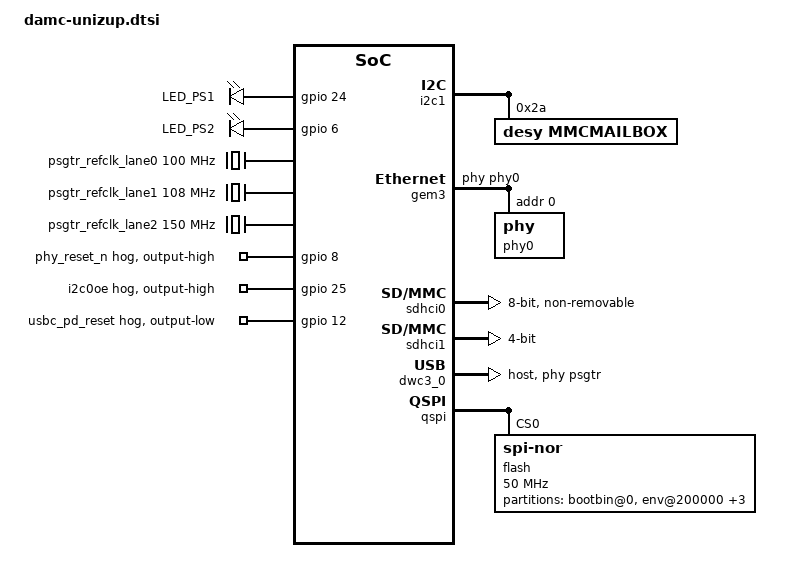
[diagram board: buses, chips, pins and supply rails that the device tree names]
#include "dt-bindings/gpio/gpio.h"
#include "dt-bindings/phy/phy.h"

/ {
    /* We do have UID EEPROM on this board, but use the STAMP UID for the ethernet MAC address */
    chosen {
        xlnx,eeprom = &mmcmailbox;
    };

    gpio-leds {
        compatible = "gpio-leds";

        // PS_MIO24 -> FPLED.LED1
        led-ps1 {
            label = "LED_PS1";
            linux,default-trigger = "heartbeat";
            gpios = <&gpio 24 GPIO_ACTIVE_HIGH>;
        };

        // PS_MIO6 -> FPLED.LED2
        led-ps2 {
            label = "LED_PS2";
            linux,default-trigger = "mmc1";
            gpios = <&gpio 6 GPIO_ACTIVE_HIGH>;
        };
    };
    
    // USB Refclk 100MHz
    psgtr_refclk_lane0: oscillator1 {
        compatible = "fixed-clock";
        #clock-cells = <0>;
        clock-frequency  = <100000000>;
    };

    // DP Refclk 108MHz
    psgtr_refclk_lane1: oscillator2 {
        compatible = "fixed-clock";
        #clock-cells = <0>;
        clock-frequency  = <108000000>;
    };

    // SATA Refclk 150MHz
    psgtr_refclk_lane2: oscillator3 {
        compatible = "fixed-clock";
        #clock-cells = <0>;
        clock-frequency  = <150000000>;
    };
};

&psgtr {
    clocks = <&psgtr_refclk_lane0>, <&psgtr_refclk_lane1>, <&psgtr_refclk_lane2>;
    clock-names = "ref0", "ref1", "ref2";
};

&i2c1 {
    mmcmailbox: mmcmailbox@2a {
        compatible = "desy,mmcmailbox";
        reg = <0x2a>;
        #address-cells = <0x02>;
        #size-cells = <0x02>;
    };
};

&gem3 {
    phy-handle = <&phy0>;

    phy0: phy@0 {
        // Marvell 88E1512
        //   compatible string is not needed
        reg = <0>;

// PS_MIO8 -> PHY_RESn_BANK501
// Somehow this does not work? (Or does it have to do w/ the PHY power supply bug?)
//        reset-gpios = <&gpio 8 GPIO_ACTIVE_LOW>;
//        reset-assert-us = <1000>;
//        reset-deassert-us = <2000>;

        device_type = "ethernet-phy";
        marvell,reg-init =
            // Set Fiber Auto-Negotiation Advertisement Register to 1000BASE-X Full-Duplex *only*
            <1 4 0x0000 0x0020>,
            // Set PHY Mode to "RGMII --> 1000BASE-X"
            <18 20 0x0000 0x0002>,
            // Reset PHY
            <18 20 0x7fff 0x8000>;
    };
};

// SD interface on MIO bank 0 is directly connected to on-board eMMC
&sdhci0 {
    non-removable;
    disable-wp;
    bus-width = <8>;
    xlnx,mio-bank = <0>;
};

// SD interface on MIO bank 1 is connected to Front Panel SD card via Ultra High Speed translator (1.8V capable)
// (PI4ULS3V4857GEAEX); Supported bus speeds: SDR12, SDR25, SDR50, DDR50, SDR104
// we have the SEL pin to switch to UHS3.0 1.8V operation
// we have the "SD3.0" Autodir setting (without the DIR pins)
// we have CD, but not WP
&sdhci1 {
    disable-wp;
    bus-width = <4>; // in Vivado the settings is "Data Transfer 8bit", but probably only for the pin mux??
    xlnx,mio-bank = <1>;

    sd-uhs-sdr12;
    sd-uhs-sdr25;
    sd-uhs-sdr50;
    sd-uhs-ddr50;
    sd-uhs-sdr104;
};

&gpio {
    // PS_MIO8 --> PHY reset
    // TODO: Check if it can be done from PHY driver
    phy_reset_n {
        gpio-hog;
        output-high;
        gpios = <8 GPIO_ACTIVE_HIGH>;
    };

    // PS_MIO25 --> I2C0_OE
    i2c0oe {
        gpio-hog;
        output-high;
        gpios = <25 GPIO_ACTIVE_HIGH>;
    };

    // PS_MIO12 --> CPU_FRONTEND.USBC_PD_RESET
    // TODO: Check if we can toggle this on boot
    usbc_pd_reset {
        gpio-hog;
        output-low;
        gpios = <12 GPIO_ACTIVE_HIGH>;
    };
};

&dwc3_0 {
    dr_mode = "host";
    snps,usb3_lpm_capable;
    phy-names = "usb3-phy";
    /* arg0..3: lane number, PHY type, PHY instance, refclock number ("refN" in psgtr/clock-names)*/
    phys = <&psgtr 0 PHY_TYPE_USB3 0 0>; 
    maximum-speed = "super-speed";
};
// TODO: check display port node?

// TODO: SATA? (We have lane2 and lane3 as SATA lanes)
// Can we have multiple SATA devices? (TRM says SATA block has 2 ports)

// copied from ZCU104
// and https://www.zachpfeffer.com/single-post/Integrate-a-QSPI-using-PetaLinux-Tools-Part-2
// going very slow
&qspi {
    flash@0 {
        compatible = "jedec,spi-nor";
        #address-cells = <1>;
        #size-cells = <1>;
        reg = <0x0>;
        spi-tx-bus-width = <1>;
        spi-rx-bus-width = <1>;
        spi-max-frequency = <50000000>;
        partitions {
            compatible = "fixed-partitions";
            #address-cells = <1>;
            #size-cells = <1>;
            bootbin@0 {
                /* 2M for FSBL + Uboot */
                reg = <0x00000000 0x00200000>;
            };
            env@200000 {
                /* 256k for Uboot env */
                reg = <0x00200000 0x00040000>;
            };
            dts@240000 {
                /* 256k for device tree */
                reg = <0x00240000 0x00040000>;
            };
            image@280000 {
                /* 32M for kernel */
                reg = <0x00280000 0x02000000>;
            };
            recovery@2280000 {
                /* 93.5M remaining for recovery-rootfs */
                reg = <0x02280000 0x05D80000>;
            };
        };
    };
};
